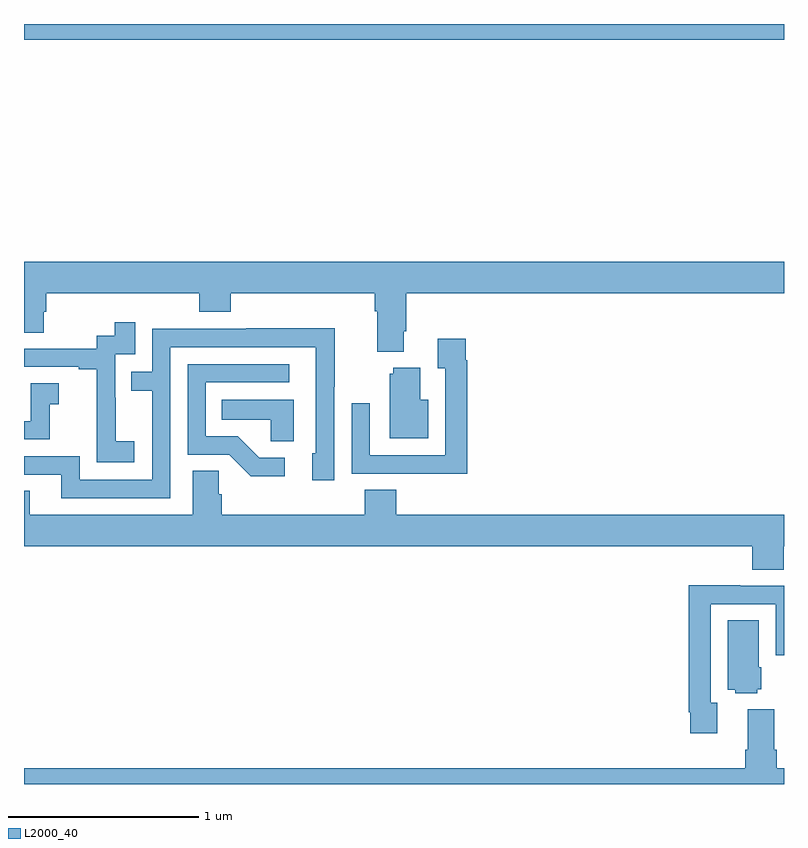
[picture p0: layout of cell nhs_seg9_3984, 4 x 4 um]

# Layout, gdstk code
import gdstk
lib = gdstk.Library(unit=1e-6, precision=1e-09)
def R(c, l, rs):  # rectangles x0, y0, x1, y1
    for r in rs: c.add(gdstk.rectangle(r[:2], r[2:], *l))
def P(c, l, *ps):  # polygons
    for p in ps: c.add(gdstk.Polygon(p, *l))
L2000_40 = (2000, 40)

nhs_seg9_3984 = lib.new_cell('nhs_seg9_3984')
R(nhs_seg9_3984, L2000_40, [(339,1200.416,343,1200.5)])
P(nhs_seg9_3984, L2000_40, [(339,1198.876),(339.103,1198.876),(339.103,1198.986),(339.116,1198.986),(339.116,1199.084),(339.923,1199.084),(339.923,1198.985),(340.088,1198.985),(340.088,1199.084),(340.847,1199.084),(340.847,1198.988),(340.859,1198.988),(340.859,1198.775),(340.999,1198.775),(340.999,1198.882),(341.012,1198.882),(341.012,1199.084),(343,1199.084),(343,1199.248),(339,1199.248)],
  [(339.58,1198.303),(339.482,1198.303),(339.482,1198.532),(339.48,1198.532),(339.48,1198.761),(339.585,1198.761),(339.585,1198.93),(339.477,1198.93),(339.477,1198.86),(339.384,1198.86),(339.384,1198.791),(339,1198.791),(339,1198.695),(339.287,1198.695),(339.287,1198.683),(339.383,1198.683),(339.383,1198.399),(339.382,1198.399),(339.382,1198.193),(339.58,1198.193)],
  [(339.771,1198.8),(340.536,1198.8),(340.536,1198.242),(340.517,1198.242),(340.517,1198.098),(340.632,1198.098),(340.632,1198.591),(340.635,1198.591),(340.635,1198.898),(340.171,1198.898),(340.171,1198.896),(339.675,1198.896),(339.675,1198.671),(339.565,1198.671),(339.565,1198.57),(339.675,1198.57),(339.675,1198.101),(339.294,1198.101),(339.294,1198.224),(339,1198.224),(339,1198.128),(339.197,1198.128),(339.197,1198.005),(339.771,1198.005)],
  [(341.333,1198.73),(341.326,1198.73),(341.326,1198.843),(341.177,1198.843),(341.177,1198.687),(341.217,1198.687),(341.217,1198.23),(340.821,1198.23),(340.821,1198.504),(340.725,1198.504),(340.725,1198.134),(341.041,1198.134),(341.041,1198.133),(341.333,1198.133)],
  [(340.372,1198.218),(340.237,1198.218),(340.126,1198.329),(339.957,1198.329),(339.957,1198.614),(340.396,1198.614),(340.396,1198.71),(339.861,1198.71),(339.861,1198.233),(340.08,1198.233),(340.193,1198.121),(340.372,1198.121)],
  [(341.128,1198.522),(341.086,1198.522),(341.086,1198.69),(340.943,1198.69),(340.943,1198.659),(340.925,1198.659),(340.925,1198.319),(341.128,1198.319)],
  [(339.135,1198.499),(339.184,1198.499),(339.184,1198.609),(339.036,1198.609),(339.036,1198.41),(339,1198.41),(339,1198.314),(339.135,1198.314)],
  [(340.42,1198.522),(340.042,1198.522),(340.042,1198.418),(340.299,1198.418),(340.299,1198.303),(340.42,1198.303)],
  [(342.998,1197.752),(343,1197.752),(343,1197.916),(340.958,1197.916),(340.958,1198.049),(340.793,1198.049),(340.793,1197.916),(340.04,1197.916),(340.04,1198.025),(340.026,1198.025),(340.026,1198.148),(339.887,1198.148),(339.887,1197.916),(339.031,1197.916),(339.031,1198.043),(339,1198.043),(339,1197.752),(342.833,1197.752),(342.833,1197.628),(342.998,1197.628)],
  [(342.649,1196.927),(342.615,1196.927),(342.615,1197.447),(342.957,1197.447),(342.957,1197.177),(343,1197.177),(343,1197.543),(342.769,1197.543),(342.769,1197.547),(342.499,1197.547),(342.499,1196.878),(342.507,1196.878),(342.507,1196.766),(342.649,1196.766)],
  [(342.858,1197),(342.88,1197),(342.88,1197.114),(342.868,1197.114),(342.868,1197.362),(342.704,1197.362),(342.704,1196.996),(342.744,1196.996),(342.744,1196.978),(342.858,1196.978)],
  [(342.809,1196.893),(342.809,1196.68),(342.797,1196.68),(342.797,1196.584),(339,1196.584),(339,1196.5),(343,1196.5),(343,1196.584),(342.962,1196.584),(342.962,1196.68),(342.949,1196.68),(342.949,1196.893)])

lib.write_gds('nhs_seg9_3984.gds')
